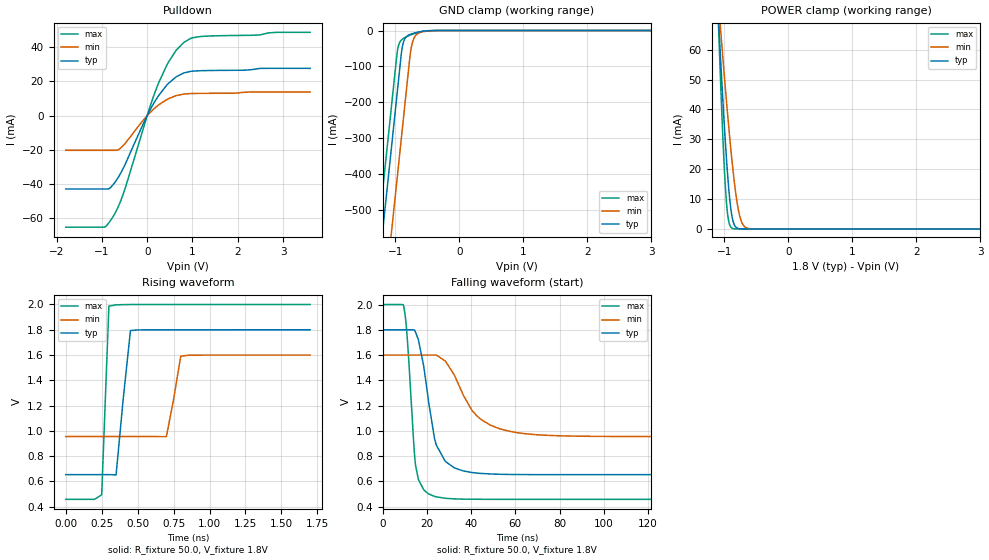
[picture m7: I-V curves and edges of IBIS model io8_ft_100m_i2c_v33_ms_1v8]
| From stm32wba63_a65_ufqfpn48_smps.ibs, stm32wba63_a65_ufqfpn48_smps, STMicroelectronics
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[Model]   io8_ft_100m_i2c_v33_ms_1v8
Model_type I/O_open_drain
Polarity   Non-Inverting
Enable   Active-Low
| CAP_THRESHOLD on pad IOFT is "UDTCAPC" :
| Rising=30.0% of vddiom   Falling=70.0% of vddiom
| C_comp min and max val. don't necessarily correlate with the min and max pvt
| but are the smallest and greatest pad capacitance found.
| var   typ   min   max
C_comp   3.34864pF  3.31908pF  3.48426pF
|C_comp_pulldown   3.34864pF  3.31908pF  3.48426pF
Vinl = 800.0mV
Vinh = 1.0V
Vmeas = 900.0mV   | Reference voltage for timing measurements
Cref  = 50.0pF   | Timing specification test load capacitance value
Rref  = 1.0MOhm   | Timing specification test load resistance value
Vref  = 990.0mV   | Timing specification test load voltage
[Model Spec]
| TIME_THRESHOLD on pin ZII2CV11 is "CMOS" :
| Rising=50.0% of vdd   Falling=50.0% of vdd
Vinl 697.50000mV 620.50000mV 783.50000mV
Vinh 1.08850V 957.50000mV 1.19550V
| variable   typ   min   max
[Temperature Range] 25.0 140.0 -40.0
| variable   typ   min   max
[Voltage Range] 1.8V 1.6V 2.0V
| variable   typ   min   max
[POWER Clamp Reference] 1.8V 1.6V 2.0V
| variable   typ   min   max
[GND Clamp Reference] 0V 0V 0V
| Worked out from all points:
|   slope of the pulldown table from 0 to 0.27 V, typ, clamps not added: 21.9 ohm
|   GND clamp passes 1 mA (typ) near -0.51 V on its own axis
|   POWER clamp passes 1 mA (typ) near -0.83 V on its own axis
|   rising waveform, R_fixture 50.0, V_fixture 1.8V: 20-80 % time 60.1ps typ, 60.4ps min, 31ps max; typ from 0.654 V to 1.8 V
|   falling waveform, R_fixture 50.0, V_fixture 1.8V: 20-80 % time 6.51ns typ, 13.7ns min, 3.34ns max; typ from 1.8 V to 0.654 V
[POWER Clamp]
-1.8V     396.4mA    285.5mA    556.9mA
-1.09V    69.42mA    75.17mA    67.14mA
-1.08V    65.31mA    72.42mA    61.23mA
-1.06V    57.23mA    66.98mA    49.77mA
-1.02V    41.75mA    56.3mA     28.91mA
-980mV    27.6mA     45.97mA    12.6mA
-940mV    15.59mA    36.11mA    3.485mA
-880mV    4.091mA    22.61mA    262.5uA
-820mV    594.6uA    11.56mA    16.39uA
-760mV    69.41uA    4.321mA    1.008uA
-630mV    611.2nA    197uA      2.486nA
3.6V      0A         0A         0A
[GND Clamp]
-1.8V     -1.583A    -1.82A     -1.468A
-1.43V    -953.9mA   -1.191A    -839.3mA
-1.24V    -630.9mA   -867.8mA   -516.3mA
-1.05V    -307.9mA   -544.8mA   -193.3mA
-980mV    -188.9mA   -425.8mA   -74.3mA
-950mV    -137.9mA   -374.8mA   -41.62mA
-890mV    -44.57mA   -272.8mA   -24.11mA
-800mV    -13.55mA   -119.8mA   -15.31mA
-760mV    -10.3mA    -56.67mA   -12.19mA
-720mV    -7.957mA   -26.08mA   -9.381mA
-540mV    -1.564mA   -2.435mA   -1.367mA
3.6V      1.281nA    268.1nA    531.2pA
| variable   typ   min   max
[Pullup Reference] 1.8V 1.6V 2.0V
| variable   typ   min   max
[Pulldown Reference] 0V 0V 0V
[Pulldown]
-1.8V     -42.97mA   -20.34mA   -65.35mA
-940mV    -42.97mA   -20.34mA   -65.31mA
-780mV    -41.3mA    -20.34mA   -60.25mA
-650mV    -36.58mA   -20.1mA    -53.93mA
-530mV    -30.86mA   -17.55mA   -45.89mA
0V        1fA        0A         -2.99fA
250mV     11.67mA    6.208mA    19.03mA
460mV     18.64mA    9.755mA    30.89mA
630mV     22.5mA     11.58mA    37.88mA
810mV     24.97mA    12.61mA    42.87mA
1.18V     26.28mA    13mA       46.33mA
3.6V      27.68mA    13.83mA    48.76mA
[Ramp]
dV/dt_r 687.6682mV/316.94182ps 386.79426mV/621.29247ps 924.84783mV/230.35506ps
dV/dt_f 687.6929mV/6.32992ns 386.84565mV/13.41856ns 924.86465mV/3.34252ns
R_load = 50.0
| Removed startup time: 0s 0s 0s  .
| Removed end time: 1.7ns.
[Rising Waveform]
R_fixture   = 50.0
V_fixture   = 1.8V
V_fixture_min = 1.6V
V_fixture_max = 2.0V
0s        653.8mV    955.3mV    458.6mV
200ps     653.8mV    955.3mV    458.5mV
250ps     653.8mV    955.3mV    494.4mV
300ps     653.8mV    955.3mV    1.987V
350ps     652mV      955.3mV    1.997V
400ps     1.256V     955.3mV    1.999V
450ps     1.794V     955.3mV    2V
700ps     1.8V       954.2mV    2V
800ps     1.8V       1.591V     2V
1.7ns     1.8V       1.6V       2V
| Removed startup time: 0s 0s 0s  .
| Removed end time: 198.4ns.
[Falling Waveform]
R_fixture   = 50.0
V_fixture   = 1.8V
V_fixture_min = 1.6V
V_fixture_max = 2.0V
0s        1.8V       1.6V       2V
9.5ns     1.8V       1.6V       1.991V
11.1ns    1.8V       1.6V       1.749V
14.95ns   1.779V     1.6V       724mV
20.85ns   1.225V     1.6V       501.4mV
24.3ns    887.6mV    1.6V       478.1mV
36.65ns   682.6mV    1.277V     460.1mV
48.6ns    659.4mV    1.047V     458.7mV
64.8ns    654.4mV    977.1mV    458.6mV
198.4ns   653.8mV    955.3mV    458.6mV
